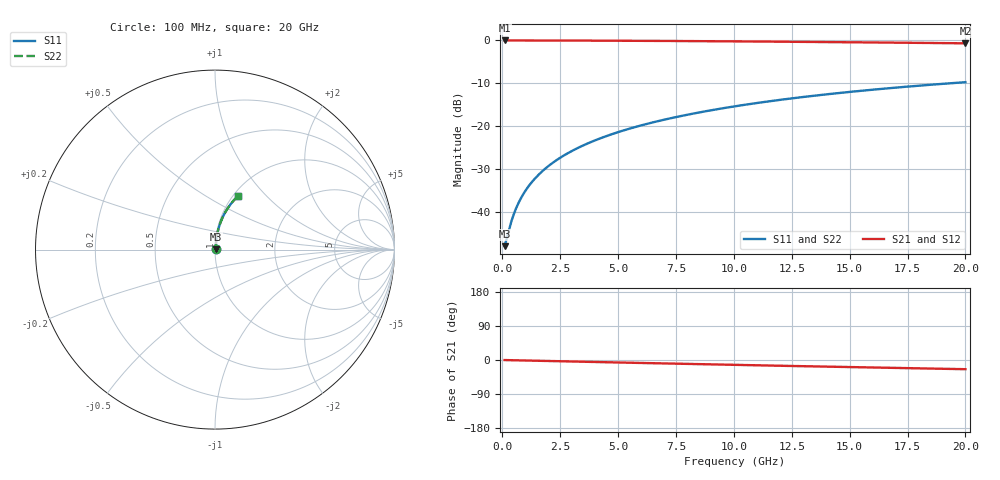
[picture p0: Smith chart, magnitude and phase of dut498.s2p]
! Touchstone file exported from HFSS 2024.1.0
!  File:  C:/UserFiles/LocalFiles/RDL_TSV_Batchsim/temp_RDL_top_498_1779678962.aedt
!  Generated:  11:18:12 AM May 25, 2026
!  Design:  RDL_top
!  Project:  temp_RDL_top_498_1779678962
!  Setup:  Setup1
!  Solution:  Sweep
! Variables:
!  dtsv = 10.80580581um
!  hbump = 3um
!  htsv = 80.74um
!  ldown = 100um
!  lrdl = 245.64um
!  p = 40
!  p1 = 51.01um
!  rhole = 1um
!  t = 450um
!  tdown = 3.915915916um
!  trdl = 2.44um
!  wdown = 15.38538539um
!  wrdl = 10.49um
# GHz S MA R 50.000000
! Terminal data exported
! Port[1] = Box2_T1
! Port[2] = Box2_T2
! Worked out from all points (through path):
!   200 points, 100 MHz to 20 GHz, reference 50 ohm
!   highest |S21| = -0.03 dB at 100 MHz (marker M1); lowest = -0.7 dB at 20 GHz (marker M2)
!   group delay of S21, straight-line fit = 3.37 ps
!   lowest |S11| = -48.0 dB at 100 MHz (marker M3), VSWR 1.01, Z = 50.4 + j0.176 ohm
!   |S11| at or under -10 dB: start of sweep to 19.37 GHz
!   |S22| runs from -48.0 to -9.8 dB; largest |S21 - S12| = 2.2e-15
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0.1  0.003983 26.0  0.9964 -0.1  0.9964 -0.1  0.003983 26.0
! Gamma 0 0 0 0
! Port Impedance 50 0 50 0
0.3  0.006371 55.1  0.9964 -0.4  0.9964 -0.4  0.006371 55.1
0.4  0.007875 62.0  0.9963 -0.5  0.9963 -0.5  0.007875 62.0
0.5  0.009452 66.5  0.9962 -0.7  0.9962 -0.7  0.009452 66.5
0.6  0.01107 69.7  0.9962 -0.8  0.9962 -0.8  0.01107 69.7
0.7  0.0127 72.0  0.9961 -0.9  0.9961 -0.9  0.0127 72.0
0.9  0.016 75.2  0.9959 -1.2  0.9959 -1.2  0.016 75.2
1.2  0.02098 78.0  0.9957 -1.6  0.9957 -1.6  0.02098 78.0
1.4  0.02431 79.2  0.9955 -1.9  0.9955 -1.9  0.02431 79.2
1.7  0.02933 80.4  0.9952 -2.3  0.9952 -2.3  0.02933 80.4
2.2  0.03771 81.6  0.9946 -2.9  0.9946 -2.9  0.03771 81.6
2.8  0.04781 82.2  0.9938 -3.7  0.9938 -3.7  0.04781 82.2
3.5  0.05963 82.4  0.9926 -4.6  0.9926 -4.6  0.05963 82.4
4.2  0.07147 82.3  0.9912 -5.5  0.9912 -5.5  0.07147 82.3
5  0.08503 82.0  0.9893 -6.5  0.9893 -6.5  0.08503 82.0
5.9  0.1003 81.4  0.9869 -7.7  0.9869 -7.7  0.1003 81.4
6.8  0.1155 80.7  0.9843 -8.8  0.9843 -8.8  0.1155 80.7
8.3  0.1409 79.4  0.9792 -10.7  0.9792 -10.7  0.1409 79.4
10.1  0.171 77.6  0.9723 -12.9  0.9723 -12.9  0.171 77.5
13.4  0.225 74.0  0.9577 -16.8  0.9577 -16.8  0.225 74.0
16.7  0.2766 70.4  0.941 -20.6  0.941 -20.6  0.2765 70.4
20  0.3252 66.8  0.9229 -24.2  0.9229 -24.2  0.3252 66.8
